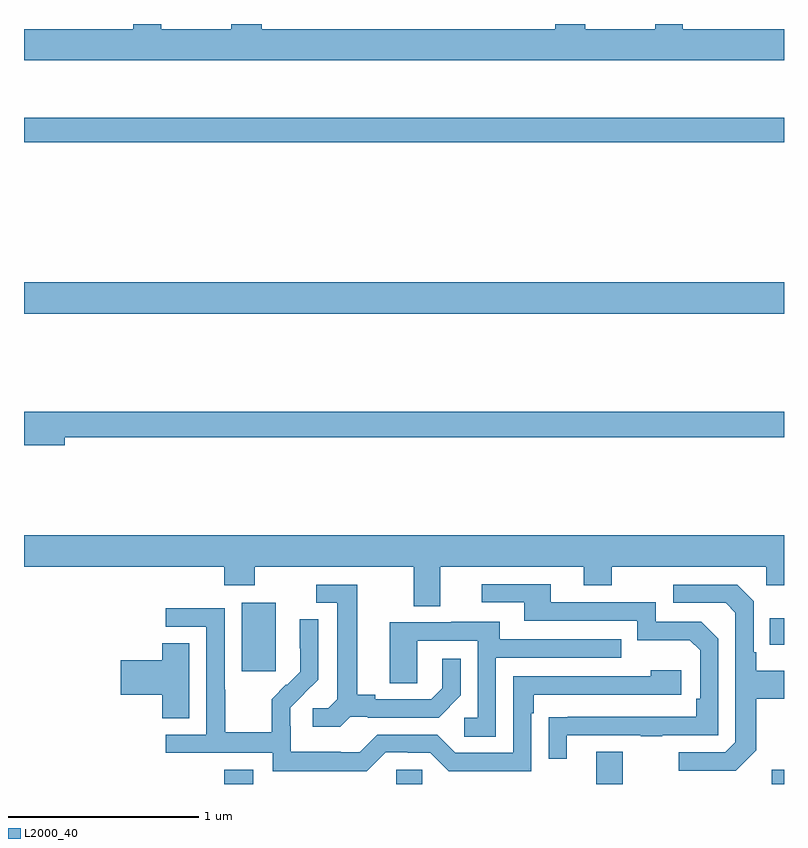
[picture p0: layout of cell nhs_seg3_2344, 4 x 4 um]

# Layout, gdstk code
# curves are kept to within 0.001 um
import gdstk
lib = gdstk.Library(unit=1e-6, precision=1e-09)
def R(c, l, rs):  # rectangles x0, y0, x1, y1
    for r in rs: c.add(gdstk.rectangle(r[:2], r[2:], *l))
def P(c, l, *ps):  # polygons
    for p in ps: c.add(gdstk.Polygon(p, *l))
L2000_40 = (2000, 40)

nhs_seg3_2344 = lib.new_cell('nhs_seg3_2344')
R(nhs_seg3_2344, L2000_40, [(232.055,738.4,232.207,738.475), (232.959,738.4,233.097,738.474), (234.011,738.4,234.151,738.571), (234.935,738.4,235,738.475), (232.145,738.993,232.324,739.354), (234.925,739.133,235,739.273), (231,740.876,235,741.04), (231,741.778,235,741.907)])
P(nhs_seg3_2344, L2000_40, [(235,742.372),(234.468,742.372),(234.468,742.4),(234.322,742.4),(234.322,742.372),(233.955,742.372),(233.955,742.4),(233.795,742.4),(233.795,742.372),(232.25,742.372),(232.25,742.4),(232.09,742.4),(232.09,742.372),(231.723,742.372),(231.723,742.4),(231.576,742.4),(231.576,742.372),(231,742.372),(231,742.208),(235,742.208)],
  [(231.214,740.224),(235,740.224),(235,740.36),(231,740.36),(231,740.182),(231.214,740.182)],
  [(233.191,739.544),(233.945,739.544),(233.945,739.445),(234.093,739.445),(234.093,739.544),(234.906,739.544),(234.906,739.445),(235,739.445),(235,739.708),(231,739.708),(231,739.544),(232.055,739.544),(232.055,739.445),(232.215,739.445),(232.215,739.544),(233.051,739.544),(233.051,739.336),(233.191,739.336)],
  [(233.857,738.657),(234.247,738.657),(234.247,738.652),(234.359,738.652),(234.359,738.657),(234.654,738.657),(234.654,739.164),(234.564,739.254),(234.324,739.254),(234.324,739.356),(233.773,739.356),(233.773,739.452),(233.409,739.452),(233.409,739.356),(233.633,739.356),(233.633,739.26),(234.228,739.26),(234.228,739.157),(234.505,739.157),(234.558,739.104),(234.558,738.85),(234.538,738.85),(234.538,738.753),(233.761,738.752),(233.761,738.534),(233.857,738.534)],
  [(232.716,738.753),(232.81,738.753),(232.81,738.75),(233.182,738.75),(233.298,738.866),(233.298,739.06),(233.201,739.06),(233.201,738.903),(233.144,738.846),(232.849,738.846),(232.849,738.869),(232.753,738.869),(232.753,739.449),(232.539,739.449),(232.539,739.353),(232.649,739.353),(232.649,738.845),(232.602,738.798),(232.521,738.798),(232.521,738.701),(232.664,738.701)],
  [(234.853,738.577),(234.853,738.85),(235,738.85),(235,738.997),(234.853,738.997),(234.853,739.093),(234.84,739.093),(234.84,739.362),(234.753,739.449),(234.417,739.449),(234.417,739.353),(234.693,739.353),(234.744,739.302),(234.744,738.621),(234.69,738.567),(234.447,738.567),(234.447,738.471),(234.747,738.471)],
  [(232.905,738.567),(233.021,738.567),(233.021,738.564),(233.139,738.564),(233.235,738.468),(233.67,738.468),(233.67,738.773),(233.683,738.773),(233.683,738.87),(234.46,738.87),(234.46,739),(234.299,739),(234.299,738.966),(233.574,738.966),(233.574,738.564),(233.271,738.564),(233.175,738.66),(232.86,738.66),(232.767,738.567),(232.667,738.567),(232.667,738.571),(232.404,738.571),(232.404,738.705),(232.402,738.705),(232.402,738.802),(232.548,738.95),(232.548,739.268),(232.452,739.268),(232.452,739.114),(232.454,739.114),(232.454,738.992),(232.383,738.921),(232.38,738.924),(232.303,738.847),(232.303,738.673),(232.059,738.673),(232.059,738.896),(232.056,738.896),(232.056,739.326),(231.747,739.326),(231.747,739.227),(231.96,739.227),(231.96,738.66),(231.747,738.66),(231.747,738.564),(232.308,738.564),(232.308,738.467),(232.805,738.467)],
  [(233.484,739.065),(234.143,739.065),(234.143,739.161),(233.503,739.161),(233.503,739.255),(233.249,739.255),(233.249,739.251),(232.925,739.251),(232.925,738.931),(233.07,738.931),(233.07,739.155),(233.388,739.155),(233.388,738.75),(233.316,738.75),(233.316,738.649),(233.484,738.649)],
  [(231.871,739.142),(231.728,739.142),(231.728,739.052),(231.51,739.052),(231.51,738.869),(231.728,738.869),(231.728,738.745),(231.871,738.745)])

lib.write_gds('nhs_seg3_2344.gds')
